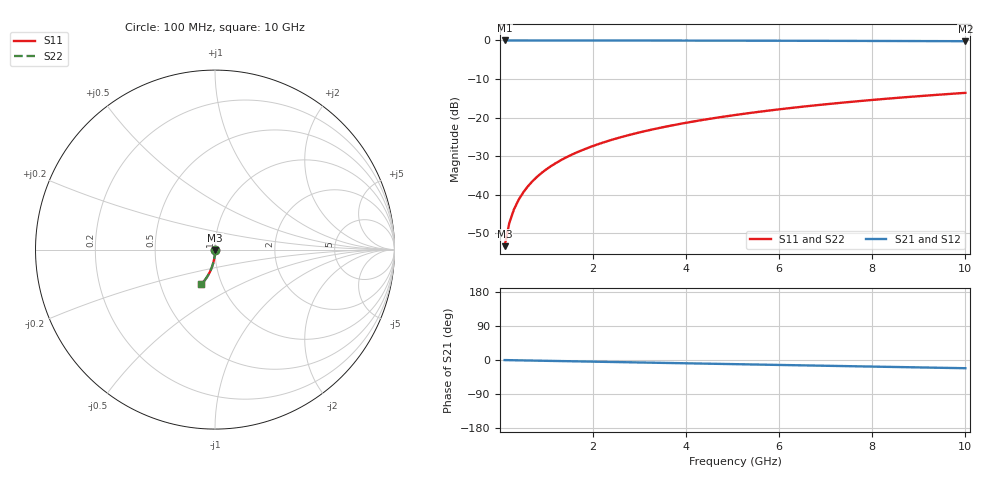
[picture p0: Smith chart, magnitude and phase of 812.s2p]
# Hz S RI R 50.00
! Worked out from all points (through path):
!   100 points, 100 MHz to 10 GHz, reference 50 ohm
!   highest |S21| = 0.00 dB at 100 MHz (marker M1); lowest = -0.2 dB at 10 GHz (marker M2)
!   group delay of S21, straight-line fit = 6.03 ps
!   lowest |S11| = -53.3 dB at 100 MHz (marker M3), VSWR 1.00, Z = 50 - j0.214 ohm
!   |S11| at or under -10 dB: start of sweep to end of sweep
!   |S22| runs from -53.3 to -13.6 dB; largest |S21 - S12| = 1e-14
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1e8  0.000214 -0.00214  0.9998 -0.00378  0.9998 -0.00378  0.000214 -0.00214
2e8  0.000189 -0.00428  0.9997 -0.00755  0.9997 -0.00755  0.000189 -0.00428
3e8  0.000147 -0.00642  0.9997 -0.0113  0.9997 -0.0113  0.000147 -0.00642
4e8  8.82e-05 -0.00856  0.9996 -0.0151  0.9996 -0.0151  8.82e-05 -0.00856
5e8  1.34e-05 -0.0107  0.9995 -0.0189  0.9995 -0.0189  1.34e-05 -0.0107
6e8  -7.77e-05 -0.0128  0.9994 -0.0227  0.9994 -0.0227  -7.77e-05 -0.0128
7e8  -0.000185 -0.015  0.9993 -0.0264  0.9993 -0.0264  -0.000185 -0.015
8e8  -0.000309 -0.0171  0.9991 -0.0302  0.9991 -0.0302  -0.000309 -0.0171
9e8  -0.000448 -0.0193  0.999 -0.034  0.999 -0.034  -0.000448 -0.0193
1.1e9  -0.000777 -0.0235  0.9986 -0.0415  0.9986 -0.0415  -0.000777 -0.0235
1.4e9  -0.00139 -0.0299  0.9979 -0.0529  0.9979 -0.0529  -0.00139 -0.0299
1.8e9  -0.00244 -0.0385  0.9967 -0.068  0.9967 -0.068  -0.00244 -0.0385
2.1e9  -0.00339 -0.0448  0.9955 -0.0793  0.9955 -0.0793  -0.00339 -0.0448
2.5e9  -0.00489 -0.0533  0.9938 -0.0943  0.9938 -0.0943  -0.00489 -0.0533
2.9e9  -0.00665 -0.0617  0.9917 -0.1093  0.9917 -0.1093  -0.00665 -0.0617
3.4e9  -0.0092 -0.0722  0.9888 -0.128  0.9888 -0.128  -0.0092 -0.0722
4.2e9  -0.0141 -0.0887  0.983 -0.1578  0.983 -0.1578  -0.0141 -0.0887
5.1e9  -0.0208 -0.1069  0.9751 -0.1909  0.9751 -0.1909  -0.0208 -0.1069
5.9e9  -0.0278 -0.1227  0.9669 -0.22  0.9669 -0.22  -0.0278 -0.1227
6.7e9  -0.0358 -0.1379  0.9576 -0.2487  0.9576 -0.2487  -0.0358 -0.1379
8.4e9  -0.0555 -0.1684  0.9342 -0.3079  0.9342 -0.3079  -0.0555 -0.1684
1e10  -0.0773 -0.1943  0.9082 -0.3611  0.9082 -0.3611  -0.0773 -0.1943
